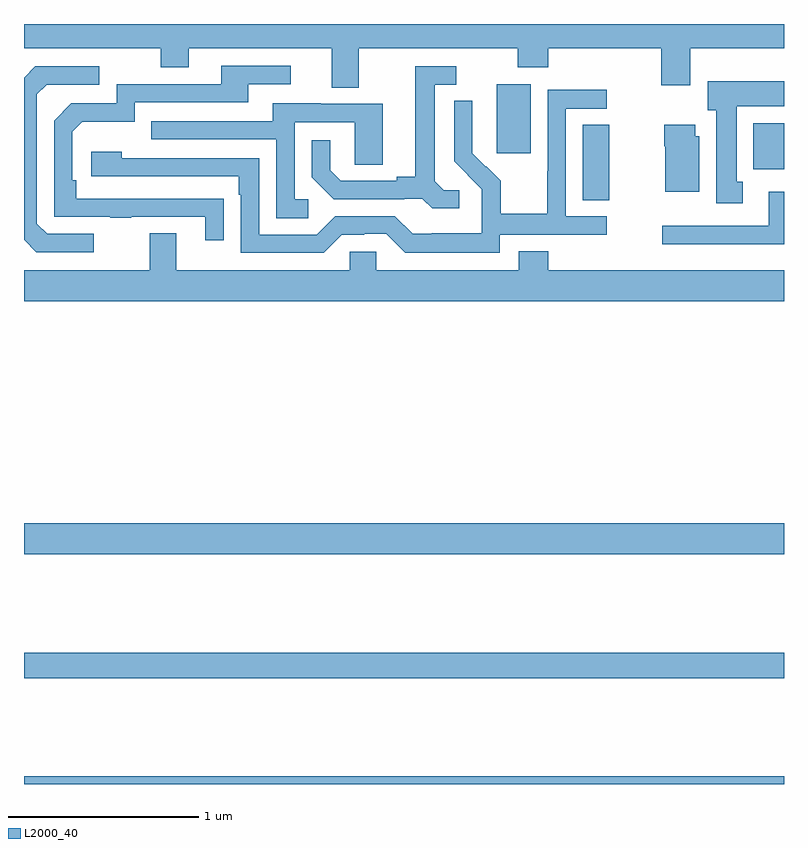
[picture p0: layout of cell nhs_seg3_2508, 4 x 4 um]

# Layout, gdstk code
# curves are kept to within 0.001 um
import gdstk
lib = gdstk.Library(unit=1e-6, precision=1e-09)
def R(c, l, rs):  # rectangles x0, y0, x1, y1
    for r in rs: c.add(gdstk.rectangle(r[:2], r[2:], *l))
def P(c, l, *ps):  # polygons
    for p in ps: c.add(gdstk.Polygon(p, *l))
L2000_40 = (2000, 40)

nhs_seg3_2508 = lib.new_cell('nhs_seg3_2508')
R(nhs_seg3_2508, L2000_40, [(241,674.4,245,674.44), (241,674.956,245,675.092), (241,675.608,245,675.772), (243.941,677.473,244.08,677.87), (244.838,677.636,245,677.878), (243.488,677.721,243.667,678.082)])
P(nhs_seg3_2508, L2000_40, [(242.761,678.272),(243.598,678.272),(243.598,678.173),(243.758,678.173),(243.758,678.272),(244.355,678.272),(244.355,678.078),(244.507,678.078),(244.507,678.272),(245,678.272),(245,678.4),(241,678.4),(241,678.272),(241.72,678.272),(241.72,678.173),(241.867,678.173),(241.867,678.272),(242.621,678.272),(242.621,678.064),(242.761,678.064)],
  [(242.051,677.48),(241.274,677.481),(241.274,677.578),(241.254,677.578),(241.254,677.832),(241.307,677.885),(241.584,677.885),(241.584,677.988),(242.179,677.988),(242.179,678.084),(242.404,678.084),(242.404,678.18),(242.039,678.18),(242.039,678.084),(241.488,678.084),(241.488,677.982),(241.248,677.982),(241.158,677.892),(241.158,677.385),(241.453,677.385),(241.453,677.38),(241.565,677.38),(241.565,677.385),(241.955,677.385),(241.955,677.262),(242.051,677.262)],
  [(243.292,677.526),(243.21,677.526),(243.163,677.573),(243.163,678.081),(243.274,678.081),(243.274,678.177),(243.059,678.177),(243.059,677.597),(242.963,677.597),(242.963,677.574),(242.668,677.574),(242.611,677.631),(242.611,677.788),(242.514,677.788),(242.514,677.594),(242.63,677.478),(243.002,677.478),(243.002,677.481),(243.096,677.481),(243.148,677.429),(243.292,677.429)],
  [(241.366,677.295),(241.122,677.295),(241.068,677.349),(241.068,678.03),(241.119,678.081),(241.396,678.081),(241.396,678.177),(241.059,678.177),(241,678.118),(241,677.265),(241.065,677.199),(241.366,677.199)],
  [(244.783,677.57),(244.75,677.57),(244.75,677.966),(245,677.966),(245,678.1),(244.598,678.1),(244.598,677.946),(244.643,677.946),(244.643,677.457),(244.783,677.457)],
  [(243.504,677.292),(244.066,677.292),(244.066,677.388),(243.852,677.388),(243.852,677.955),(244.066,677.955),(244.066,678.054),(243.756,678.054),(243.756,677.624),(243.754,677.624),(243.754,677.401),(243.509,677.401),(243.509,677.575),(243.432,677.652),(243.429,677.649),(243.359,677.72),(243.36,677.996),(243.264,677.996),(243.264,677.678),(243.41,677.53),(243.41,677.433),(243.408,677.433),(243.408,677.299),(243.145,677.299),(243.145,677.295),(243.045,677.295),(242.952,677.388),(242.637,677.388),(242.541,677.292),(242.238,677.292),(242.238,677.694),(241.514,677.694),(241.514,677.728),(241.353,677.728),(241.353,677.598),(242.129,677.598),(242.129,677.501),(242.142,677.501),(242.142,677.196),(242.577,677.196),(242.673,677.292),(242.792,677.292),(242.792,677.295),(242.907,677.295),(243.007,677.195),(243.504,677.195)],
  [(242.497,677.478),(242.424,677.478),(242.424,677.883),(242.742,677.883),(242.742,677.659),(242.887,677.659),(242.887,677.979),(242.563,677.979),(242.563,677.983),(242.309,677.983),(242.309,677.889),(241.669,677.889),(241.669,677.793),(242.328,677.793),(242.328,677.377),(242.497,677.377)],
  [(244.555,677.808),(244.534,677.808),(244.534,677.869),(244.369,677.869),(244.369,677.756),(244.376,677.756),(244.376,677.516),(244.555,677.516)],
  [(245,677.518),(244.919,677.518),(244.919,677.337),(244.359,677.337),(244.359,677.24),(245,677.24)],
  [(245,677.104),(243.758,677.104),(243.758,677.203),(243.605,677.203),(243.605,677.104),(242.853,677.104),(242.853,677.202),(242.715,677.202),(242.715,677.104),(241.801,677.104),(241.801,677.299),(241.661,677.299),(241.661,677.104),(241,677.104),(241,676.94),(245,676.94)])

lib.write_gds('nhs_seg3_2508.gds')
